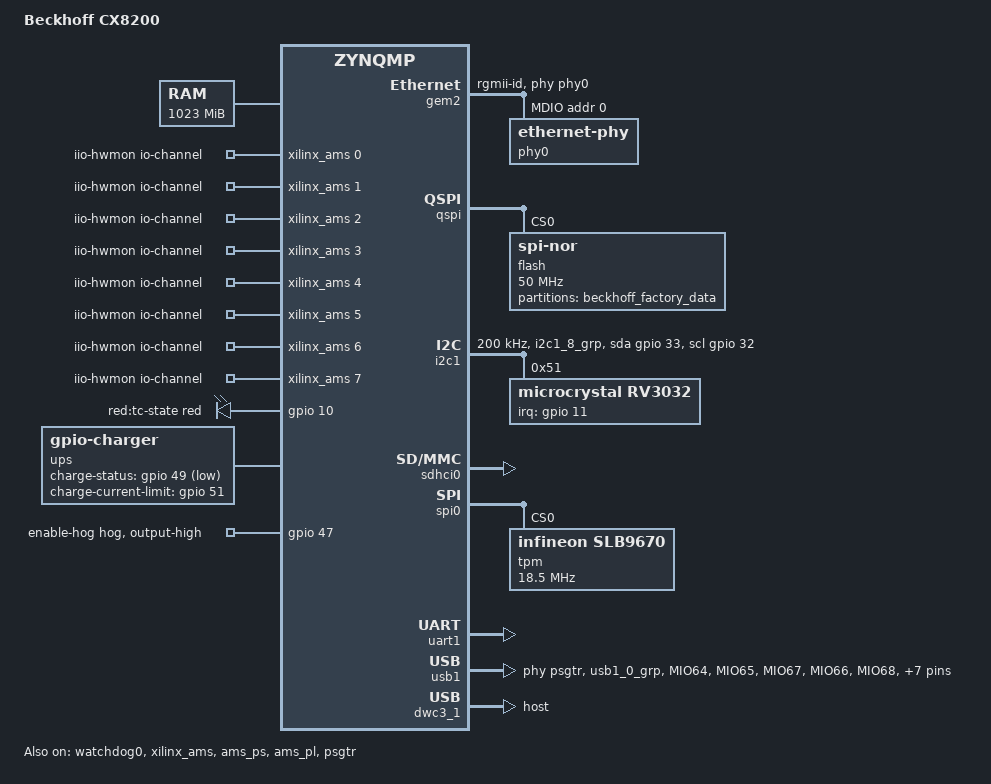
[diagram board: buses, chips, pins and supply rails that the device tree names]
// SPDX-License-Identifier: GPL-2.0+
/*
 * dts file for Beckhoff CX8200
 *
 * (C) Copyright 2023, Beckhoff Automation GmbH & Co. KG
 *
 * Steffen Dirkwinkel <s.dirkwinkel@beckhoff.com>
 */

/dts-v1/;

#include "zynqmp.dtsi"
#include "zynqmp-clk-ccf.dtsi"
#include <dt-bindings/gpio/gpio.h>
#include <dt-bindings/pinctrl/pinctrl-zynqmp.h>
#include <dt-bindings/phy/phy.h>
#include <dt-bindings/interrupt-controller/irq.h>
#include <dt-bindings/leds/common.h>

/ {
	model = "Beckhoff CX8200";
	compatible = "beckhoff,cx8200-rev1", "beckhoff,cx8200",
		     "xlnx,zynqmp";

	aliases {
		ethernet0 = &gem2;
		rtc0 = &rv3032;
		serial0 = &uart1;
		usb0 = &usb1;
	};

	chosen {
		bootargs = "earlycon";
		stdout-path = "serial0:115200n8";
	};

	cpus {
		/delete-node/ cpu@2 ;
		/delete-node/ cpu@3 ;
	};

	thermal-zones {
		apu-thermal {
			cooling-maps {
				map {
					cooling-device =
						<&cpu0 THERMAL_NO_LIMIT THERMAL_NO_LIMIT>,
						<&cpu1 THERMAL_NO_LIMIT THERMAL_NO_LIMIT>;
				};
			};
		};
	};

	axi {
		/delete-node/ debug@fee10000;
		/delete-node/ debug@fef10000;
	};

	memory {
		device_type = "memory";
		reg = <0x0 0x0 0x0 0x3ff00000>;
	};

	pmu {
		compatible = "arm,armv8-pmuv3";
		interrupt-parent = <&gic>;
		interrupts = <GIC_SPI 143 IRQ_TYPE_LEVEL_HIGH>,
			     <GIC_SPI 144 IRQ_TYPE_LEVEL_HIGH>;
		interrupt-affinity = <&cpu0>,
				     <&cpu1>;
	};

	iio-hwmon {
		compatible = "iio-hwmon";
		io-channels = <&xilinx_ams 0>, <&xilinx_ams 1>, <&xilinx_ams 2>,
			      <&xilinx_ams 3>, <&xilinx_ams 4>, <&xilinx_ams 5>,
			      <&xilinx_ams 6>, <&xilinx_ams 7>, <&xilinx_ams 8>,
			      <&xilinx_ams 9>, <&xilinx_ams 10>,
			      <&xilinx_ams 11>, <&xilinx_ams 12>;
	};

	usb1_clk: usb1_clk {
		compatible = "fixed-clock";
		#clock-cells = <0>;
		clock-frequency = <26000000>;
	};

	leds {
		compatible = "gpio-leds";
		tc-state-red {
			color = <LED_COLOR_ID_RED>;
			default-state = "off"; // also controlled from fpga, we set it to off to give fpga control
			panic-indicator; // blink on panic (will only work if it's not turned on from the fpga)
			gpios = <&gpio 10 GPIO_ACTIVE_HIGH>;
			label = "red:tc-state";
		};
	};

	sysinfo {
		compatible = "u-boot,sysinfo-nvmem-cell";
		nvmem-cells = <&product>, <&serial>, <&version>, <&option>, <&product>, <&asset_tag>;
		nvmem-cell-names = "system_product", "system_serial", "system_version", "system_sku", "baseboard_product", "chassis_asset_tag";

		smbios {
			system {
				manufacturer = "Beckhoff Automation GmbH & Co. KG";
				/* product set by nvmem cells */
				/* serial set by nvmem cells */
				/* version set by nvmem cells */
				/* sku set by nvmem cells */
				family = "CX82XX";
			};

			baseboard {
				manufacturer = "Beckhoff Automation GmbH & Co. KG";
				/* product set by nvmem cells */
			};

			chassis {
				manufacturer = "Beckhoff Automation GmbH & Co. KG";
				/* asset tag set by nvmem cells */
			};
		};
	};

	ups {
		compatible = "gpio-charger";
		charger-type = "ups";

		charge-status-gpios = <&gpio 49 GPIO_ACTIVE_LOW>;

		charge-current-limit-gpios = <&gpio 51 GPIO_ACTIVE_HIGH>;
		charge-current-limit-mapping = <1 0x00>, // 1 (any nonzero value) => GPIO 51 low, chager enable
									   <0 0x01>; // 0 => GPIO 51 high, chager disable
		charge-current-limit-default-microamp = <0x01>;
	};

	firmware {
		/delete-node/ optee;
	};
};

&fpd_dma_chan1 {
	status = "okay";
};

&fpd_dma_chan2 {
	status = "okay";
};

&fpd_dma_chan3 {
	status = "okay";
};

&fpd_dma_chan4 {
	status = "okay";
};

&fpd_dma_chan5 {
	status = "okay";
};

&fpd_dma_chan6 {
	status = "okay";
};

&fpd_dma_chan7 {
	status = "okay";
};

&fpd_dma_chan8 {
	status = "okay";
};

&gem2 {
	status = "okay";
	nvmem-cells = <&gem2_mac_address>;
	nvmem-cell-names = "mac-address";
	phy-handle = <&phy0>;
	phy-mode = "rgmii-id";
	mdio: mdio {
		#address-cells = <1>;
		#size-cells = <0>;
		phy0: ethernet-phy@0 { /* Broadcom B50212E */
			reg = <0>;
		};
	};
};

&gpio {
	status = "okay";

	/* USB_EN */
	enable-hog {
		gpio-hog;
		gpios = <47 0>;
		output-high;
	};
};

&qspi {
	status = "okay";
	flash@0 {
		compatible = "jedec,spi-nor"; /* IS25LP016D-JULA3 */
		reg = <0>;
		spi-tx-bus-width = <4>;
		spi-rx-bus-width = <4>;
		spi-max-frequency = <50000000>;
		#address-cells = <1>;
		#size-cells = <1>;

		partitions {
			compatible = "fixed-partitions";
			#address-cells = <1>;
			#size-cells = <1>;

			partition@0 {
				label = "beckhoff_factory_data";
				reg = <0x0 0x11000>;
				compatible = "nvmem-cells";
				#address-cells = <1>;
				#size-cells = <1>;

				product: product@24 {
					reg = <0x24 0x10>;
				};

				serial: serial@34 {
					reg = <0x34 0x10>;
				};

				option: option@44 {
					reg = <0x44 0x20>;
				};

				gem2_mac_address: mac-address@64 {
					reg = <0x64 0x6>;
				};

				fpga_name: fpga_name@C4 {
					reg = <0xC4 0x20>;
				};

				version: version@E4 {
					reg = <0xE4 0x20>;
				};

				asset_tag: asset_tag@104 {
					reg = <0x104 0x20>;
				};
			};
		};

	};
};

&i2c1 {
	status = "okay";
	clock-frequency = <200000>;
	scl-gpios = <&gpio 32 (GPIO_ACTIVE_HIGH | GPIO_OPEN_DRAIN)>;
	sda-gpios = <&gpio 33 (GPIO_ACTIVE_HIGH | GPIO_OPEN_DRAIN)>;
	pinctrl-names = "default", "gpio";
	pinctrl-0 = <&pinctrl_i2c1_default>;
	pinctrl-1 = <&pinctrl_i2c1_gpio>;

	rv3032: rtc@51 {
		#address-cells = <1>;
		#size-cells = <1>;
		compatible = "microcrystal,rv3032";
		reg = <0x51>;
		interrupt-parent = <&gpio>;
		interrupts = <11 IRQ_TYPE_LEVEL_LOW>;
	};
};

&pinctrl0 {
	status = "okay";

	pinctrl_usb1_default: usb1-default {
		mux {
			groups = "usb1_0_grp";
			function = "usb1";
		};

		conf {
			groups = "usb1_0_grp";
			power-source = <IO_STANDARD_LVCMOS18>;
		};

		conf-rx {
			pins = "MIO64", "MIO65", "MIO67";
			bias-high-impedance;
			drive-strength = <12>;
			slew-rate = <SLEW_RATE_FAST>;
		};

		conf-tx {
			pins = "MIO66", "MIO68", "MIO69", "MIO70", "MIO71",
			       "MIO72", "MIO73", "MIO74", "MIO75";
			bias-disable;
			drive-strength = <4>;
			slew-rate = <SLEW_RATE_SLOW>;
		};
	};

	pinctrl_i2c1_default: i2c1-default {
		mux {
			groups = "i2c1_8_grp";
			function = "i2c1";
		};

		conf {
			groups = "i2c1_8_grp";
			bias-pull-up;
			slew-rate = <SLEW_RATE_SLOW>;
			power-source = <IO_STANDARD_LVCMOS33>;
		};
	};

	pinctrl_i2c1_gpio: i2c1-gpio {
		mux {
			groups = "gpio0_32_grp", "gpio0_33_grp";
			function = "gpio0";
		};

		conf {
			groups = "gpio0_32_grp", "gpio0_33_grp";
			slew-rate = <SLEW_RATE_SLOW>;
			power-source = <IO_STANDARD_LVCMOS33>;
		};
	};
};

&sdhci0 {
	status = "okay";
	disable-wp;
	no-1-8-v;
	xlnx,mio-bank = <0x0>;
};

&spi0 {
	status = "okay";
	label = "TPM";
	num-cs = <1>;
	tpm@0 {
		compatible = "infineon,slb9670", "tcg,tpm_tis-spi";
		reg = <0>;
		spi-max-frequency = <18500000>;
	};
};

&uart1 {
	status = "okay";
};

&usb1 {
	status = "okay";
	pinctrl-names = "default";
	pinctrl-0 = <&pinctrl_usb1_default>;
	phy-names = "usb3-phy";
	phys = <&psgtr 3 PHY_TYPE_USB3 1 3>;
};

&dwc3_1 {
	status = "okay";
	dr_mode = "host";
	maximum-speed = "super-speed";
};

&watchdog0 {
	status = "okay";
};

&xilinx_ams {
	status = "okay";
};

&ams_ps {
	status = "okay";
};

&ams_pl {
	status = "okay";
};

&psgtr {
	status = "okay";
	/* usb3 */
	clocks = <&usb1_clk>;
	clock-names = "ref3";
};
